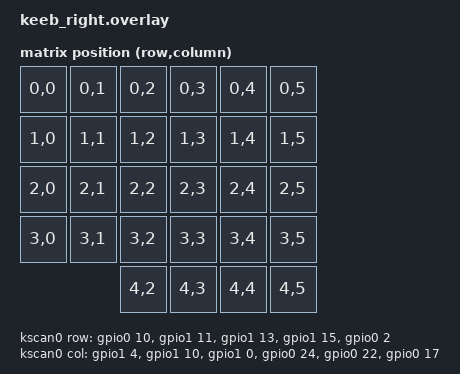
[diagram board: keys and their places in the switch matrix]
/*
 * Pretpostavljeni raspored pinova na SuperMini nRF52840 pločici
 * (na temelju slike - PROVJERI nakon prvog flasha!):
 *
 * REDOVI (5, lijeva strana pločice):
 *   row0 = P0.10   row1 = P1.11   row2 = P1.13
 *   row3 = P1.15   row4 = P0.02  (thumb red)
 *
 * KOLONE (6, desna strana pločice):
 *   col0 = P1.04   col1 = P1.10   col2 = P1.00
 *   col3 = P0.24   col4 = P0.22   col5 = P0.17
 *
 * Ako NIJEDNA tipka ne radi nakon flasha -> zamijeni
 * diode-direction "col2row" u "row2col" ispod.
 */

#include <dt-bindings/zmk/matrix_transform.h>

/ {
    chosen {
        zmk,kscan = &kscan0;
        zmk,matrix-transform = &default_transform;
    };

    kscan0: kscan_0 {
        compatible = "zmk,kscan-gpio-matrix";
        wakeup-source;
        diode-direction = "col2row";

        row-gpios
            = <&gpio0 10 (GPIO_ACTIVE_HIGH | GPIO_PULL_DOWN)>
            , <&gpio1 11 (GPIO_ACTIVE_HIGH | GPIO_PULL_DOWN)>
            , <&gpio1 13 (GPIO_ACTIVE_HIGH | GPIO_PULL_DOWN)>
            , <&gpio1 15 (GPIO_ACTIVE_HIGH | GPIO_PULL_DOWN)>
            , <&gpio0 2  (GPIO_ACTIVE_HIGH | GPIO_PULL_DOWN)>
            ;

        col-gpios
            = <&gpio1 4  GPIO_ACTIVE_HIGH>
            , <&gpio1 10 GPIO_ACTIVE_HIGH>
            , <&gpio1 0  GPIO_ACTIVE_HIGH>
            , <&gpio0 24 GPIO_ACTIVE_HIGH>
            , <&gpio0 22 GPIO_ACTIVE_HIGH>
            , <&gpio0 17 GPIO_ACTIVE_HIGH>
            ;
    };

    /*
     * Fizički raspored tipki (28 ukupno):
     * red0: 6 7 8 9 0 Š          (broj red)
     * red1: Z U I O P Đ
     * red2: H J K L Č Ć
     * red3: N M ; : - Ž
     * red4:       strelice (Left Up Down Right) - pod col2-5
     *
     * Ako je redoslijed tipki u keymapu krivo poravnat sa
     * stvarnom fizičkom tipkom, ovdje se to popravlja
     * (ne treba dirati kscan pinove gore).
     */
    default_transform: keymap_transform_0 {
        compatible = "zmk,matrix-transform";
        columns = <6>;
        rows = <5>;

        map = <
            RC(0,0) RC(0,1) RC(0,2) RC(0,3) RC(0,4) RC(0,5)
            RC(1,0) RC(1,1) RC(1,2) RC(1,3) RC(1,4) RC(1,5)
            RC(2,0) RC(2,1) RC(2,2) RC(2,3) RC(2,4) RC(2,5)
            RC(3,0) RC(3,1) RC(3,2) RC(3,3) RC(3,4) RC(3,5)
                            RC(4,2) RC(4,3) RC(4,4) RC(4,5)
        >;
    };
};
